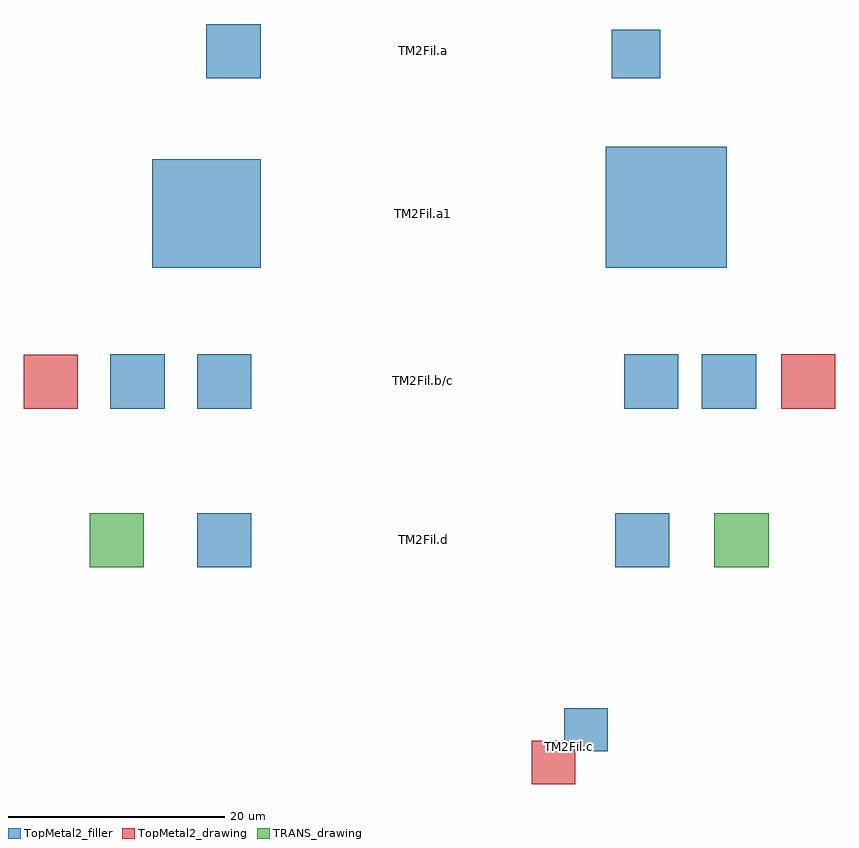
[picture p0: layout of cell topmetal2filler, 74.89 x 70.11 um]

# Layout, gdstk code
import gdstk
lib = gdstk.Library(unit=1e-6, precision=1e-09)
def R(c, l, rs):  # rectangles x0, y0, x1, y1
    for r in rs: c.add(gdstk.rectangle(r[:2], r[2:], *l))
TRANS_drawing = (26, 0)
TopMetal2_drawing = (134, 0)
TopMetal2_filler = (134, 22)

topmetal2filler = lib.new_cell('topmetal2filler')
R(topmetal2filler, TRANS_drawing, [(-30.77,-55.065,-25.77,-50.065), (26.85,-55.065,31.85,-50.065)])
R(topmetal2filler, TopMetal2_drawing, [(10,-75.065,14,-71.065), (-36.87,-40.445,-31.87,-35.445), (33.02,-40.44,38.02,-35.44)])
R(topmetal2filler, TopMetal2_filler, [(13,-72.065,17,-68.065), (-20.87,-55.065,-15.87,-50.065), (17.71,-55.065,22.71,-50.065), (-28.87,-40.44,-23.87,-35.44), (-20.87,-40.44,-15.87,-35.44), (18.535,-40.44,23.535,-35.44), (25.71,-40.44,30.71,-35.44), (-25.01,-27.445,-15.01,-17.445), (16.85,-27.445,28.02,-16.275), (-20.01,-9.95,-15.01,-4.95), (17.4,-9.95,21.85,-5.5)])
topmetal2filler.add(gdstk.Label('TM2Fil.a', (0,-7.36), layer=63, texttype=0))
topmetal2filler.add(gdstk.Label('TM2Fil.a1', (0,-22.42), layer=63, texttype=0))
topmetal2filler.add(gdstk.Label('TM2Fil.b/c', (0,-37.85), layer=63, texttype=0))
topmetal2filler.add(gdstk.Label('TM2Fil.d', (0,-52.48), layer=63, texttype=0))
topmetal2filler.add(gdstk.Label('PASS', (-12,5), layer=63, texttype=0))
topmetal2filler.add(gdstk.Label('FAIL', (12,5), layer=63, texttype=0))
topmetal2filler.add(gdstk.Label('5.26 TopMetal2:filler', (0,21), layer=63, texttype=0))
topmetal2filler.add(gdstk.Label('TM2Fil.c', (13.5,-71.565), layer=63, texttype=0))

lib.write_gds('topmetal2filler.gds')
